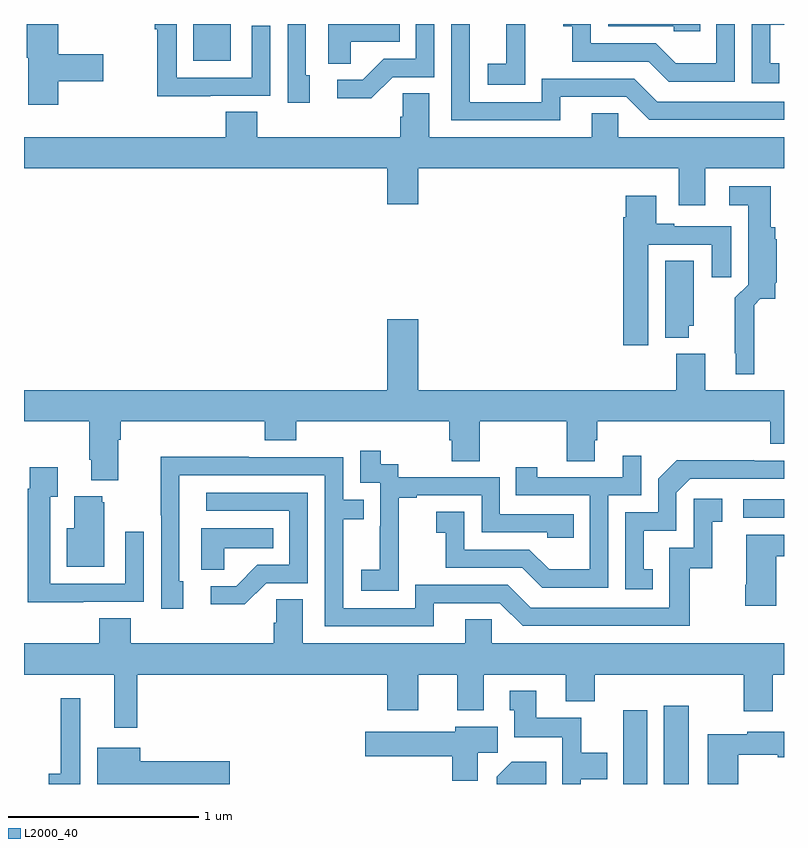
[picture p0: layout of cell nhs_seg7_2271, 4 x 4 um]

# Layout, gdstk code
import gdstk
lib = gdstk.Library(unit=1e-6, precision=1e-09)
def R(c, l, rs):  # rectangles x0, y0, x1, y1
    for r in rs: c.add(gdstk.rectangle(r[:2], r[2:], *l))
def P(c, l, *ps):  # polygons
    for p in ps: c.add(gdstk.Polygon(p, *l))
L2000_40 = (2000, 40)

nhs_seg7_2271 = lib.new_cell('nhs_seg7_2271')
R(nhs_seg7_2271, L2000_40, [(262.154,1040,262.279,1040.389), (262.367,1040,262.498,1040.413), (262.785,1041.402,263,1041.498), (259.892,1043.807,260.089,1044)])
P(nhs_seg7_2271, L2000_40, [(259.181,1043.698),(259.416,1043.698),(259.416,1043.84),(259.181,1043.84),(259.181,1044),(259.015,1044),(259.015,1043.823),(259.022,1043.823),(259.022,1043.574),(259.181,1043.574)],
  [(262.559,1044),(262.074,1044),(262.074,1043.988),(262.419,1043.988),(262.419,1043.961),(262.559,1043.961)],
  [(261.639,1043.887),(261.638,1043.887),(261.638,1044),(261.539,1044),(261.539,1043.791),(261.441,1043.791),(261.441,1043.681),(261.639,1043.681)],
  [(262.976,1043.793),(262.927,1043.793),(262.927,1043.997),(263,1043.997),(263,1044),(262.83,1044),(262.83,1043.688),(262.976,1043.688)],
  [(261.823,1043.616),(262.17,1043.616),(262.29,1043.496),(263,1043.496),(263,1043.592),(262.332,1043.592),(262.212,1043.712),(261.726,1043.712),(261.726,1043.589),(261.345,1043.589),(261.345,1044),(261.249,1044),(261.249,1043.493),(261.823,1043.493)],
  [(260.503,1043.73),(260.484,1043.73),(260.484,1044),(260.388,1044),(260.388,1043.586),(260.503,1043.586)],
  [(259.979,1043.622),(260.295,1043.622),(260.295,1043.992),(260.199,1043.992),(260.199,1043.718),(259.803,1043.718),(259.803,1044),(259.687,1044),(259.687,1043.972),(259.702,1043.972),(259.702,1043.621),(259.979,1043.621)],
  [(260.721,1043.906),(260.978,1043.906),(260.978,1044),(260.6,1044),(260.6,1043.791),(260.721,1043.791)],
  [(260.94,1043.721),(261.159,1043.721),(261.159,1044),(261.063,1044),(261.063,1043.817),(260.894,1043.817),(260.783,1043.706),(260.649,1043.706),(260.649,1043.609),(260.827,1043.609)],
  [(262.74,1044),(262.644,1044),(262.644,1043.794),(262.43,1043.794),(262.326,1043.898),(261.984,1043.898),(261.984,1044),(261.837,1044),(261.837,1043.987),(261.886,1043.987),(261.886,1043.802),(262.289,1043.802),(262.394,1043.697),(262.74,1043.697)],
  [(262.585,1043.24),(263,1043.24),(263,1043.404),(262.128,1043.404),(262.128,1043.531),(261.989,1043.531),(261.989,1043.404),(261.133,1043.404),(261.133,1043.636),(260.994,1043.636),(260.994,1043.513),(260.981,1043.513),(260.981,1043.404),(260.228,1043.404),(260.228,1043.537),(260.063,1043.537),(260.063,1043.404),(259,1043.404),(259,1043.24),(260.912,1043.24),(260.912,1043.052),(261.076,1043.052),(261.076,1043.24),(262.445,1043.24),(262.445,1043.046),(262.585,1043.046)],
  [(262.843,1042.52),(262.875,1042.553),(262.955,1042.553),(262.955,1042.634),(262.961,1042.64),(262.961,1042.866),(262.955,1042.866),(262.955,1042.929),(262.93,1042.929),(262.93,1043.146),(262.713,1043.146),(262.713,1043.045),(262.811,1043.045),(262.811,1042.628),(262.741,1042.558),(262.741,1042.267),(262.745,1042.267),(262.745,1042.157),(262.843,1042.157)],
  [(262.285,1042.839),(262.619,1042.839),(262.619,1042.668),(262.723,1042.668),(262.723,1042.935),(262.423,1042.935),(262.423,1042.948),(262.327,1042.948),(262.327,1043.095),(262.166,1043.095),(262.166,1042.982),(262.154,1042.982),(262.154,1042.308),(262.285,1042.308)],
  [(262.498,1042.413),(262.525,1042.413),(262.525,1042.754),(262.376,1042.754),(262.376,1042.349),(262.498,1042.349)],
  [(259.495,1041.812),(259.508,1041.812),(259.508,1041.908),(260.267,1041.908),(260.267,1041.809),(260.432,1041.809),(260.432,1041.908),(261.239,1041.908),(261.239,1041.81),(261.251,1041.81),(261.251,1041.7),(261.399,1041.7),(261.399,1041.908),(261.856,1041.908),(261.856,1041.7),(262.003,1041.7),(262.003,1041.81),(262.016,1041.81),(262.016,1041.908),(262.928,1041.908),(262.928,1041.791),(263,1041.791),(263,1042.072),(262.585,1042.072),(262.585,1042.264),(262.433,1042.264),(262.433,1042.072),(261.076,1042.072),(261.076,1042.447),(260.912,1042.447),(260.912,1042.072),(259,1042.072),(259,1041.908),(259.343,1041.908),(259.343,1041.706),(259.355,1041.706),(259.355,1041.599),(259.495,1041.599)],
  [(260.973,1041.223),(260.972,1041.223),(260.972,1041.507),(261.067,1041.507),(261.067,1041.519),(261.408,1041.519),(261.408,1041.324),(261.753,1041.324),(261.753,1041.297),(261.893,1041.297),(261.893,1041.42),(261.504,1041.42),(261.504,1041.615),(260.97,1041.615),(260.97,1041.684),(260.878,1041.684),(260.878,1041.754),(260.769,1041.754),(260.769,1041.585),(260.874,1041.585),(260.874,1041.356),(260.873,1041.356),(260.873,1041.127),(260.775,1041.127),(260.775,1041.017),(260.973,1041.017)],
  [(262.074,1041.519),(262.248,1041.519),(262.248,1041.727),(262.151,1041.727),(262.151,1041.615),(261.7,1041.615),(261.7,1041.667),(261.589,1041.667),(261.589,1041.519),(261.978,1041.519),(261.978,1041.13),(261.764,1041.13),(261.66,1041.234),(261.318,1041.234),(261.318,1041.433),(261.171,1041.433),(261.171,1041.323),(261.22,1041.323),(261.22,1041.138),(261.623,1041.138),(261.728,1041.033),(262.074,1041.033)],
  [(261.157,1040.952),(261.504,1040.952),(261.624,1040.832),(262.504,1040.832),(262.504,1041.135),(262.622,1041.135),(262.622,1041.381),(262.675,1041.381),(262.675,1041.502),(262.524,1041.502),(262.524,1041.243),(262.395,1041.243),(262.395,1040.928),(261.666,1040.928),(261.546,1041.048),(261.06,1041.048),(261.06,1040.925),(260.679,1040.925),(260.679,1041.394),(260.789,1041.394),(260.789,1041.495),(260.679,1041.495),(260.679,1041.72),(260.183,1041.72),(260.183,1041.722),(259.72,1041.722),(259.72,1041.415),(259.722,1041.415),(259.722,1040.922),(259.837,1040.922),(259.837,1041.066),(259.818,1041.066),(259.818,1041.624),(260.583,1041.624),(260.583,1040.829),(261.157,1040.829)],
  [(262.31,1041.129),(262.261,1041.129),(262.261,1041.333),(262.434,1041.333),(262.434,1041.534),(262.506,1041.606),(263,1041.606),(263,1041.702),(262.844,1041.702),(262.844,1041.704),(262.436,1041.704),(262.338,1041.606),(262.338,1041.429),(262.164,1041.429),(262.164,1041.024),(262.31,1041.024)],
  [(259.313,1040.958),(259.629,1040.958),(259.629,1041.328),(259.533,1041.328),(259.533,1041.054),(259.137,1041.054),(259.137,1041.511),(259.177,1041.511),(259.177,1041.667),(259.029,1041.667),(259.029,1041.554),(259.021,1041.554),(259.021,1040.957),(259.313,1040.957)],
  [(260.274,1041.057),(260.493,1041.057),(260.493,1041.534),(259.959,1041.534),(259.959,1041.438),(260.397,1041.438),(260.397,1041.153),(260.228,1041.153),(260.117,1041.042),(259.983,1041.042),(259.983,1040.945),(260.161,1040.945)],
  [(259.423,1041.483),(259.412,1041.483),(259.412,1041.514),(259.265,1041.514),(259.265,1041.346),(259.226,1041.346),(259.226,1041.143),(259.423,1041.143)],
  [(260.055,1041.242),(260.312,1041.242),(260.312,1041.346),(259.934,1041.346),(259.934,1041.127),(260.055,1041.127)],
  [(262.96,1041.199),(263,1041.199),(263,1041.313),(262.802,1041.313),(262.802,1041.049),(262.795,1041.049),(262.795,1040.937),(262.96,1040.937)],
  [(259.597,1040.576),(260.912,1040.576),(260.912,1040.388),(261.076,1040.388),(261.076,1040.576),(261.281,1040.576),(261.281,1040.387),(261.421,1040.387),(261.421,1040.576),(261.851,1040.576),(261.851,1040.435),(262.004,1040.435),(262.004,1040.576),(262.787,1040.576),(262.787,1040.382),(262.94,1040.382),(262.94,1040.576),(263,1040.576),(263,1040.74),(261.462,1040.74),(261.462,1040.867),(261.323,1040.867),(261.323,1040.74),(260.467,1040.74),(260.467,1040.972),(260.328,1040.972),(260.328,1040.849),(260.315,1040.849),(260.315,1040.74),(259.562,1040.74),(259.562,1040.873),(259.397,1040.873),(259.397,1040.74),(259,1040.74),(259,1040.576),(259.475,1040.576),(259.475,1040.295),(259.597,1040.295)],
  [(261.93,1040.024),(262.069,1040.024),(262.069,1040.164),(261.933,1040.164),(261.933,1040.35),(261.697,1040.35),(261.697,1040.491),(261.557,1040.491),(261.557,1040.388),(261.581,1040.388),(261.581,1040.246),(261.834,1040.246),(261.834,1040),(261.93,1040)],
  [(259.297,1040.452),(259.193,1040.452),(259.193,1040.053),(259.13,1040.053),(259.13,1040),(259.297,1040)],
  [(261.388,1040.164),(261.493,1040.164),(261.493,1040.302),(261.27,1040.302),(261.27,1040.275),(260.796,1040.275),(260.796,1040.146),(261.254,1040.146),(261.254,1040.016),(261.388,1040.016)],
  [(262.76,1040.153),(262.968,1040.153),(262.968,1040.141),(263,1040.141),(263,1040.275),(262.806,1040.275),(262.806,1040.263),(262.598,1040.263),(262.598,1040),(262.76,1040)],
  [(260.083,1040.121),(259.612,1040.121),(259.612,1040.191),(259.385,1040.191),(259.385,1040),(260.083,1040)],
  [(261.749,1040.116),(261.566,1040.116),(261.488,1040.038),(261.488,1040),(261.749,1040)])

lib.write_gds('nhs_seg7_2271.gds')
